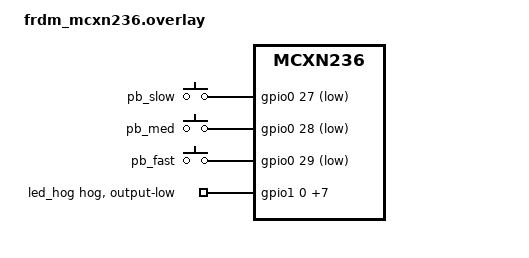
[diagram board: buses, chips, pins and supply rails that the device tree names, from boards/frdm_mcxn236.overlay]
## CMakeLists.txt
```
cmake_minimum_required(VERSION 3.20.0)
find_package(Zephyr REQUIRED HINTS $ENV{ZEPHYR_BASE})
project(ex8_gpio_keys_hogs)

# Common sources: dispatcher plus the shared LED rotation helper.
target_sources(app PRIVATE src/main.c src/led_rotate.c)

# Show the selected exercise mode during the build.
if(CONFIG_EX8_MODE_BLINK)
    message(STATUS "Exercise 8: BLINK mode (Exercise 1)")
elseif(CONFIG_EX8_MODE_ROTATE_OFF)
    message(STATUS "Exercise 8: ROTATE OFF mode (Exercise 2)")
elseif(CONFIG_EX8_MODE_LED_ON_PRESS)
    message(STATUS "Exercise 8: LED ON PRESS mode (Exercise 3)")
elseif(CONFIG_EX8_MODE_THREE_SPEED)
    message(STATUS "Exercise 8: THREE SPEED mode (Exercise 4)")
elseif(CONFIG_EX8_MODE_TOGGLE)
    message(STATUS "Exercise 8: TOGGLE mode (Exercise 5)")
elseif(CONFIG_EX8_MODE_SPEED_CYCLE)
    message(STATUS "Exercise 8: SPEED CYCLE mode (Exercise 6)")
elseif(CONFIG_EX8_MODE_TWO_BTN)
    message(STATUS "Exercise 8: TWO BUTTON mode (Exercise 7)")
endif()

# Each mode is compiled only when its EX8_MODE_* symbol is selected. The mode
# files are added to the "app" library when the corresponding Kconfig value is
# "y" (see cmake/modules/extensions.cmake, zephyr_library_sources_ifdef).
zephyr_library_sources_ifdef(CONFIG_EX8_MODE_BLINK src/mode_blink.c)
zephyr_library_sources_ifdef(CONFIG_EX8_MODE_ROTATE_OFF src/mode_rotate_off.c)
zephyr_library_sources_ifdef(CONFIG_EX8_MODE_LED_ON_PRESS src/mode_led_on_press.c)
zephyr_library_sources_ifdef(CONFIG_EX8_MODE_THREE_SPEED src/mode_three_speed.c)
zephyr_library_sources_ifdef(CONFIG_EX8_MODE_TOGGLE src/mode_toggle.c)
zephyr_library_sources_ifdef(CONFIG_EX8_MODE_SPEED_CYCLE src/mode_speed_cycle.c)
zephyr_library_sources_ifdef(CONFIG_EX8_MODE_TWO_BTN src/mode_two_button.c)
```

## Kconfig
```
# Exercise 8: gpio-keys, GPIO hogs, and DT aliases

# SPDX-License-Identifier: Apache-2.0

mainmenu "Exercise 8: gpio-keys, GPIO hogs, and DT aliases"

choice EX8_MODE
	prompt "Exercise 8 LED/button mode"
	default EX8_MODE_BLINK
	help
	  Select which LED/button behavior this image runs. Each choice maps
	  to one of the previous exercises (ex1..ex7), built from a shared
	  Kconfig-driven source set.

config EX8_MODE_BLINK
	bool "Blink (exercise 1)"

config EX8_MODE_ROTATE_OFF
	bool "Rotate a turned-off LED (exercise 2)"

config EX8_MODE_LED_ON_PRESS
	bool "LED on while button is pressed (exercise 3)"

config EX8_MODE_THREE_SPEED
	bool "Rotate an LED with three speeds (exercise 4)"

config EX8_MODE_TOGGLE
	bool "Toggle an LED on/off with a single button press (exercise 5)"

config EX8_MODE_SPEED_CYCLE
	bool "Single button cycles through four rotation speeds (exercise 6)"

config EX8_MODE_TWO_BTN
	bool "Two buttons rotate an LED left/right (exercise 7)"

endchoice

source "Kconfig.zephyr"
```

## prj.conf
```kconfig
# Exercise 8: gpio-keys, GPIO hogs, and DT aliases

# Input subsystem and the gpio-keys driver that turns the board/protoboard
# buttons into INPUT_EV_KEY events (subsys/input/Kconfig,
# drivers/input/Kconfig.gpio_keys).
CONFIG_INPUT=y
CONFIG_INPUT_GPIO_KEYS=y

# Enable the DT-driven GPIO hogs used to initialize the LED outputs
# (drivers/gpio/Kconfig, CONFIG_GPIO_HOGS; gpio_hogs.c).
CONFIG_GPIO_HOGS=y
```

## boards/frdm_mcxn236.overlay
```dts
/*
 * Overlay for exercise 8: gpio-keys, GPIO hogs, and DT aliases.
 *
 * Replaces the manual GPIO init/poll of exercises 1..7 with devicetree
 * mechanisms:
 *
 * - A single gpio-hog on &gpio1 (the LED port) configures pins 0-7 as
 *   active-high output-low at boot, replacing led_init() in drivers/gpio
 *   (gpio_hogs.c, GPIO_HOGS_INIT_PRIORITY 41).
 * - A "gpio-keys" node (drivers/input/input_gpio_keys.c) turns the three
 *   protoboard buttons P0_27, P0_28, P0_29 into input events with codes
 *   INPUT_KEY_1/2/3.
 * - DT aliases ledbar / sw2 / sw3 / sw4 let the mode sources address LED
 *   port and buttons through the devicetree API instead of raw pins.
 *
 * Board: NXP FRDM-MCXN236
 */

#include <zephyr/dt-bindings/gpio/gpio.h>
#include <zephyr/dt-bindings/input/input-event-codes.h>

/ {
	aliases {
		ledbar = &gpio1;
		sw2 = &pb_slow;
		sw3 = &pb_med;
		sw4 = &pb_fast;
	};

	ex8_keys {
		compatible = "gpio-keys";
		debounce-interval-ms = <50>;

		pb_slow: pb-slow {
			gpios = <&gpio0 27 (GPIO_PULL_UP | GPIO_ACTIVE_LOW)>;
			zephyr,code = <INPUT_KEY_1>;
		};

		pb_med: pb-med {
			gpios = <&gpio0 28 (GPIO_PULL_UP | GPIO_ACTIVE_LOW)>;
			zephyr,code = <INPUT_KEY_2>;
		};

		pb_fast: pb-fast {
			gpios = <&gpio0 29 (GPIO_PULL_UP | GPIO_ACTIVE_LOW)>;
			zephyr,code = <INPUT_KEY_3>;
		};
	};
};

&gpio1 {
	led_hog: led-hog {
		gpio-hog;
		gpios = <0 GPIO_ACTIVE_HIGH>, <1 GPIO_ACTIVE_HIGH>,
			<2 GPIO_ACTIVE_HIGH>, <3 GPIO_ACTIVE_HIGH>,
			<4 GPIO_ACTIVE_HIGH>, <5 GPIO_ACTIVE_HIGH>,
			<6 GPIO_ACTIVE_HIGH>, <7 GPIO_ACTIVE_HIGH>;
		output-low;
	};
};
```

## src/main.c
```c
/**
 * @file main.c
 * @brief Exercise 8 - gpio-keys, GPIO hogs, and DT aliases dispatcher.
 *
 * Rebuilds exercises 1..7 on top of Zephyr's input subsystem (gpio-keys),
 * boot-time GPIO hogs, and devicetree aliases instead of manual GPIO
 * configuration and polling.
 *
 * Reference: zephyr_projects/README.md, "Low-level drivers - GPIO"
 * checklist - "Rewrite the button/LED exercises using gpio-keys, GPIO hogs,
 * and DT aliases" (line 70).
 *
 * The build variant is selected with the EX8_MODE Kconfig choice; only the
 * matching mode_*.c file is compiled (see CMakeLists.txt,
 * zephyr_library_sources_ifdef).
 *
 * Board: NXP FRDM-MCXN236
 */

#include <zephyr/device.h>
#include <zephyr/kernel.h>

#define LED_PORT_NODE DT_ALIAS(ledbar)

/* Each mode source exports mode_<name>_run(const struct device *led_port) */
#if defined(CONFIG_EX8_MODE_BLINK)
void mode_blink_run(const struct device *led_port);
#elif defined(CONFIG_EX8_MODE_ROTATE_OFF)
void mode_rotate_off_run(const struct device *led_port);
#elif defined(CONFIG_EX8_MODE_LED_ON_PRESS)
void mode_led_on_press_run(const struct device *led_port);
#elif defined(CONFIG_EX8_MODE_THREE_SPEED)
void mode_three_speed_run(const struct device *led_port);
#elif defined(CONFIG_EX8_MODE_TOGGLE)
void mode_toggle_run(const struct device *led_port);
#elif defined(CONFIG_EX8_MODE_SPEED_CYCLE)
void mode_speed_cycle_run(const struct device *led_port);
#elif defined(CONFIG_EX8_MODE_TWO_BTN)
void mode_two_button_run(const struct device *led_port);
#else
#error "No EX8_MODE selected"
#endif

int main(void)
{
	const struct device *led_port = DEVICE_DT_GET(LED_PORT_NODE);

	if (!device_is_ready(led_port)) {
		printk("Error: LED port device is not ready\n");
		return -1;
	}

#if defined(CONFIG_EX8_MODE_BLINK)
	mode_blink_run(led_port);
#elif defined(CONFIG_EX8_MODE_ROTATE_OFF)
	mode_rotate_off_run(led_port);
#elif defined(CONFIG_EX8_MODE_LED_ON_PRESS)
	mode_led_on_press_run(led_port);
#elif defined(CONFIG_EX8_MODE_THREE_SPEED)
	mode_three_speed_run(led_port);
#elif defined(CONFIG_EX8_MODE_TOGGLE)
	mode_toggle_run(led_port);
#elif defined(CONFIG_EX8_MODE_SPEED_CYCLE)
	mode_speed_cycle_run(led_port);
#elif defined(CONFIG_EX8_MODE_TWO_BTN)
	mode_two_button_run(led_port);
#endif

	return 0;
}
```

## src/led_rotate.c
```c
/**
 * @file led_rotate.c
 * @brief Implementation of the shared non-blocking LED rotation helper.
 *
 * See led_rotate.h for the public interface. Port write uses the masked raw
 * API (gpio_port_set_masked_raw) exactly like exercises 1, 2, 6 and 7 so the
 * physical pin level on the FRDM-MCXN236 protoboard LEDs matches the masks.
 */

#include <zephyr/drivers/gpio.h>

#include "led_rotate.h"

void led_rotate_step(const struct device *led_port,
		     int delta_pos, uint32_t rotate_ticks, bool lit)
{
	static int rotate_pos = 0;
	static uint32_t rotate_counter = 0;

	rotate_counter++;

	if (rotate_counter < rotate_ticks) {
		return;
	}

	rotate_counter = 0;

	if (lit) {
		gpio_port_set_masked_raw(led_port, ALL_LEDS_MASK,
					 BIT(rotate_pos));
	} else {
		gpio_port_set_masked_raw(led_port, ALL_LEDS_MASK,
					 ALL_LEDS_MASK & ~BIT(rotate_pos));
	}

	rotate_pos = (rotate_pos + delta_pos + NUM_LED) % NUM_LED;
}
```

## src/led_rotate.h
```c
/**
 * @file led_rotate.h
 * @brief Shared non-blocking LED rotation used by several exercise 8 modes.
 *
 * Reference: zephyr_projects/README.md, "Low-level drivers - GPIO"
 * checklist; the tick-based rotation logic comes from exercises 6 and 7
 * (README.md "Single button cycles through four rotation speeds" and
 * "Two buttons rotate an LED left/right").
 */

#ifndef MODULAR_PROJECTS_EX8_LED_ROTATE_H_
#define MODULAR_PROJECTS_EX8_LED_ROTATE_H_

#include <stdbool.h>
#include <stdint.h>

#include <zephyr/device.h>
#include <zephyr/sys/util.h>

#define NUM_LED 8
#define ALL_LEDS_MASK ((1u << NUM_LED) - 1)

#define POLL_DELAY_MS 10

/**
 * @brief Advance the rotating LED by one step (fixed-period poll loop).
 *
 * Non-blocking: called once per poll cycle, it counts a tick and only
 * moves the LED once rotate_ticks ticks have elapsed. The tick counter is
 * deliberately NOT reset when the caller changes rotate_ticks, so a speed
 * change is perceived as a natural acceleration instead of a glitch.
 *
 * @param led_port    GPIO device driving the LEDs.
 * @param delta_pos   Step size per LED movement: +1 for one direction,
 *                    +1/-1 for left/right rotation.
 * @param rotate_ticks Number of poll cycles (POLL_DELAY_MS each) between
 *                    LED movements.
 * @param lit         true to rotate a single lit LED (others off);
 *                    false to rotate a single turned-off LED (others on).
 */
void led_rotate_step(const struct device *led_port,
		     int delta_pos, uint32_t rotate_ticks, bool lit);

#endif /* MODULAR_PROJECTS_EX8_LED_ROTATE_H_ */
```

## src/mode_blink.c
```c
/**
 * @file mode_blink.c
 * @brief Exercise 8 mode: Blink (exercise 1).
 *
 * Reference: zephyr_projects/README.md, "Low-level drivers - GPIO"
 * checklist - "Blink 8 LEDs connected to a single port, alternating between
 * two groups: {p0, p2, p4, p6} and {p1, p3, p5, p7}" (line 63).
 *
 * The LED port is reached through the DT alias "ledbar" (overlay maps it to
 * gpio1). Timing uses the fixed-period poll loop; the two groups alternate
 * every BLINK_TICKS (BLINK_DELAY_MS / POLL_DELAY_MS) ticks.
 *
 * Board: NXP FRDM-MCXN236
 */

#include <stdbool.h>
#include <stdint.h>

#include <zephyr/device.h>
#include <zephyr/drivers/gpio.h>
#include <zephyr/kernel.h>

#include "led_rotate.h"

#define GROUP_A_MASK 0x55 /* pins p0,p2,p4,p6 of the port */
#define GROUP_B_MASK 0xAA /* pins p1,p3,p5,p7 of the port */
#define ALL_PINS_MASK 0xFF

#define BLINK_DELAY_MS 500
#define BLINK_TICKS (BLINK_DELAY_MS / POLL_DELAY_MS)

void mode_blink_run(const struct device *led_port)
{
	bool show_group_b = false;
	uint32_t tick = 0;

	printk("Starting alternating blink on gpio1 pins 0-7 via DT alias "
	       "(gpio-keys/GPIO hogs build)\n");
	printk("Group A mask\n");
	gpio_port_set_masked_raw(led_port, ALL_PINS_MASK, GROUP_A_MASK);

	while (1) {
		tick++;

		if (tick >= BLINK_TICKS) {
			tick = 0;
			show_group_b = !show_group_b;

			gpio_port_set_masked_raw(
				led_port, ALL_PINS_MASK,
				show_group_b ? GROUP_B_MASK : GROUP_A_MASK);

			printk(show_group_b ? "Group B mask\n"
					    : "Group A mask\n");
		}

		k_msleep(POLL_DELAY_MS);
	}
}
```

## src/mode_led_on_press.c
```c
/**
 * @file mode_led_on_press.c
 * @brief Exercise 8 mode: LED on while a button is pressed (exercise 3).
 *
 * Reference: zephyr_projects/README.md, "Low-level drivers - GPIO"
 * checklist - "LED on while button is pressed" (line 65).
 *
 * The on-board SW2 (DT alias "sw0", gpio-keys code from the board node,
 * INPUT_KEY_WAKEUP) mirrors the first LED (gpio1 pin 0):
 *
 * - The gpio-keys input callback only updates the LED state (pressed or
 *   not) — decision (b).
 * - The fixed 10ms poll loop performs the GPIO write.
 *
 * Debounce is provided by the gpio-keys driver, so no manual debounce code
 * is needed.
 *
 * Board: NXP FRDM-MCXN236
 */

#include <stdbool.h>
#include <stdint.h>

#include <zephyr/device.h>
#include <zephyr/drivers/gpio.h>
#include <zephyr/input/input.h>
#include <zephyr/kernel.h>
#include <zephyr/sys/util.h>

#include "led_rotate.h"

#define LED_PIN 0

#define SW0_CODE DT_PROP(DT_ALIAS(sw0), zephyr_code)

static bool g_pressed;

static void led_on_press_input_cb(struct input_event *evt, void *user_data)
{
	ARG_UNUSED(user_data);

	if (evt->type == INPUT_EV_KEY && evt->code == SW0_CODE) {
		g_pressed = (evt->value != 0);
	}
}

INPUT_CALLBACK_DEFINE(NULL, led_on_press_input_cb, NULL);

void mode_led_on_press_run(const struct device *led_port)
{
	printk("LED (gpio1 pin %d) will mirror SW2 via gpio-keys\n", LED_PIN);

	while (1) {
		gpio_pin_set(led_port, LED_PIN, g_pressed);

		k_msleep(POLL_DELAY_MS);
	}
}
```

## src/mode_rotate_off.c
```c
/**
 * @file mode_rotate_off.c
 * @brief Exercise 8 mode: Rotate a turned-off LED (exercise 2).
 *
 * Reference: zephyr_projects/README.md, "Low-level drivers - GPIO"
 * checklist - "Rotate a turned-off LED across a port's pins at a speed
 * perceptible to the human eye" (line 64).
 *
 * All LEDs stay ON except one, which walks across the pins. The shared
 * led_rotate_step() helper is used with lit = false and a fixed 150ms step
 * (ROTATE_TICKS ~ POLL_DELAY_MS) implemented on the 10ms poll loop.
 *
 * Board: NXP FRDM-MCXN236
 */

#include <stdbool.h>
#include <stdint.h>

#include <zephyr/device.h>
#include <zephyr/kernel.h>

#include "led_rotate.h"

#define ROTATE_DELAY_MS 150
#define ROTATE_TICKS (ROTATE_DELAY_MS / POLL_DELAY_MS)

void mode_rotate_off_run(const struct device *led_port)
{
	printk("Starting rotating off-LED on gpio1 pins 0-%d via DT alias\n",
	       NUM_LED - 1);

	while (1) {
		led_rotate_step(led_port, 1, ROTATE_TICKS, false);

		k_msleep(POLL_DELAY_MS);
	}
}
```

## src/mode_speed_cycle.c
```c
/**
 * @file mode_speed_cycle.c
 * @brief Exercise 8 mode: single button cycles through four rotation speeds
 *        (exercise 6).
 *
 * Reference: zephyr_projects/README.md, "Low-level drivers - GPIO"
 * checklist - "Single button cycles through four rotation speeds, wrapping
 * around" (line 68).
 *
 * The protoboard button at P0_28 (DT alias "sw3", gpio-keys code
 * INPUT_KEY_2) advances a lit-LED rotation through four speeds, wrapping
 * from the fastest back to the slowest:
 *
 *   ROTATE_TICKS_SLOWEST   60 ticks (600 ms)
 *   ROTATE_TICKS_SLOW      30 ticks (300 ms)
 *   ROTATE_TICKS_FAST      15 ticks (150 ms)
 *   ROTATE_TICKS_FASTEST    8 ticks ( 80 ms)
 *
 * Debounce is provided by the gpio-keys driver; the input callback only
 * advances the speed index, and the poll loop drives led_rotate_step().
 *
 * Board: NXP FRDM-MCXN236
 */

#include <stdbool.h>
#include <stdint.h>

#include <zephyr/device.h>
#include <zephyr/input/input.h>
#include <zephyr/kernel.h>
#include <zephyr/sys/util.h>

#include "led_rotate.h"

#define SW3_CODE DT_PROP(DT_ALIAS(sw3), zephyr_code)

#define NUM_SPEEDS 4
#define ROTATE_TICKS_SLOWEST 60 /* 60 * POLL_DELAY_MS = 600 ms */
#define ROTATE_TICKS_SLOW    30 /* 30 * POLL_DELAY_MS = 300 ms */
#define ROTATE_TICKS_FAST    15 /* 15 * POLL_DELAY_MS = 150 ms */
#define ROTATE_TICKS_FASTEST  8 /*  8 * POLL_DELAY_MS =  80 ms */

static const uint32_t g_speed_ticks[NUM_SPEEDS] = {
	ROTATE_TICKS_SLOWEST,
	ROTATE_TICKS_SLOW,
	ROTATE_TICKS_FAST,
	ROTATE_TICKS_FASTEST,
};

static uint8_t g_speed_index;

static void speed_cycle_input_cb(struct input_event *evt, void *user_data)
{
	ARG_UNUSED(user_data);

	if (evt->type == INPUT_EV_KEY && evt->code == SW3_CODE &&
	    evt->value == 1) {
		g_speed_index = (g_speed_index + 1) % NUM_SPEEDS;
	}
}

INPUT_CALLBACK_DEFINE(NULL, speed_cycle_input_cb, NULL);

void mode_speed_cycle_run(const struct device *led_port)
{
	printk("Rotating lit-LED on gpio1; sw3 (P0_28) cycles 4 speeds\n");
	printk("Speed: %u ticks\n", g_speed_ticks[g_speed_index]);

	while (1) {
		led_rotate_step(led_port, 1, g_speed_ticks[g_speed_index],
				true);

		k_msleep(POLL_DELAY_MS);
	}
}
```

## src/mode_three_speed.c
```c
/**
 * @file mode_three_speed.c
 * @brief Exercise 8 mode: Rotate an LED with three speeds (exercise 4).
 *
 * Reference: zephyr_projects/README.md, "Low-level drivers - GPIO"
 * checklist - "Rotate an LED with three speeds" (line 66).
 *
 * The three protoboard buttons (DT aliases sw2/sw3/sw4 -> gpio-keys codes
 * INPUT_KEY_1/2/3, pins P0_27/P0_28/P0_29) select the rotation speed of a
 * turned-off LED that walks across the 8 LED pins:
 *
 *   sw2 (P0_27) -> slow  (ROTATE_TICKS_SLOW  = 60 ticks = 600ms)
 *   sw3 (P0_28) -> med   (ROTATE_TICKS_MED   = 30 ticks = 300ms)
 *   sw4 (P0_29) -> fast  (ROTATE_TICKS_FAST  = 10 ticks = 100ms)
 *
 * Selection is latched: it stays at the last pressed button until another
 * one is pressed (precedence slow > med > fast, as in the original
 * exercise). The input callback only records which buttons are active; the
 * poll loop applies the precedence on each iteration.
 *
 * Board: NXP FRDM-MCXN236
 */

#include <stdbool.h>
#include <stdint.h>

#include <zephyr/device.h>
#include <zephyr/input/input.h>
#include <zephyr/kernel.h>
#include <zephyr/sys/util.h>

#include "led_rotate.h"

#define SW2_CODE DT_PROP(DT_ALIAS(sw2), zephyr_code) /* P0_27 */
#define SW3_CODE DT_PROP(DT_ALIAS(sw3), zephyr_code) /* P0_28 */
#define SW4_CODE DT_PROP(DT_ALIAS(sw4), zephyr_code) /* P0_29 */

#define ROTATE_TICKS_SLOW 60 /* 60 * POLL_DELAY_MS = 600 ms */
#define ROTATE_TICKS_MED  30 /* 30 * POLL_DELAY_MS = 300 ms */
#define ROTATE_TICKS_FAST 10 /* 10 * POLL_DELAY_MS = 100 ms */

static bool g_slow_pressed;
static bool g_med_pressed;
static bool g_fast_pressed;

static void three_speed_input_cb(struct input_event *evt, void *user_data)
{
	ARG_UNUSED(user_data);

	if (evt->type != INPUT_EV_KEY) {
		return;
	}

	if (evt->code == SW2_CODE) {
		g_slow_pressed = (evt->value != 0);
	} else if (evt->code == SW3_CODE) {
		g_med_pressed = (evt->value != 0);
	} else if (evt->code == SW4_CODE) {
		g_fast_pressed = (evt->value != 0);
	}
}

INPUT_CALLBACK_DEFINE(NULL, three_speed_input_cb, NULL);

void mode_three_speed_run(const struct device *led_port)
{
	uint32_t rotate_ticks = ROTATE_TICKS_MED; /* default speed at boot */

	printk("Rotating off-LED on gpio1, speed selected by sw2/sw3/sw4 "
	       "via gpio-keys\n");

	while (1) {
		if (g_slow_pressed) {
			rotate_ticks = ROTATE_TICKS_SLOW;
		} else if (g_med_pressed) {
			rotate_ticks = ROTATE_TICKS_MED;
		} else if (g_fast_pressed) {
			rotate_ticks = ROTATE_TICKS_FAST;
		}

		led_rotate_step(led_port, 1, rotate_ticks, false);

		k_msleep(POLL_DELAY_MS);
	}
}
```

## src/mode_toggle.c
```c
/**
 * @file mode_toggle.c
 * @brief Exercise 8 mode: Toggle an LED with a single button (exercise 5).
 *
 * Reference: zephyr_projects/README.md, "Low-level drivers - GPIO"
 * checklist - "Toggle an LED on/off with a single button press" (line 67).
 *
 * The protoboard button at P0_28 (DT alias "sw3", gpio-keys code
 * INPUT_KEY_2) toggles the first LED (gpio1 pin 0) on every press:
 *
 * - The gpio-keys input callback detects a press event and inverts the
 *   LED state.
 * - The fixed 10ms poll loop performs the GPIO write.
 *
 * Debounce is provided by the gpio-keys driver (debounce-interval-ms in
 * the overlay), so no manual debounce code is needed.
 *
 * Board: NXP FRDM-MCXN236
 */

#include <stdbool.h>
#include <stdint.h>

#include <zephyr/device.h>
#include <zephyr/drivers/gpio.h>
#include <zephyr/input/input.h>
#include <zephyr/kernel.h>
#include <zephyr/sys/util.h>

#include "led_rotate.h"

#define LED_PIN 0

#define SW3_CODE DT_PROP(DT_ALIAS(sw3), zephyr_code)

static bool g_led_state;

static void toggle_input_cb(struct input_event *evt, void *user_data)
{
	ARG_UNUSED(user_data);

	if (evt->type == INPUT_EV_KEY && evt->code == SW3_CODE &&
	    evt->value == 1) {
		g_led_state = !g_led_state;
	}
}

INPUT_CALLBACK_DEFINE(NULL, toggle_input_cb, NULL);

void mode_toggle_run(const struct device *led_port)
{
	printk("LED (gpio1 pin %d) toggles on each sw3 (P0_28) press\n",
	       LED_PIN);

	while (1) {
		gpio_pin_set(led_port, LED_PIN, g_led_state);

		k_msleep(POLL_DELAY_MS);
	}
}
```

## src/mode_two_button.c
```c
/**
 * @file mode_two_button.c
 * @brief Exercise 8 mode: two buttons rotate an LED left/right (exercise 7).
 *
 * Reference: zephyr_projects/README.md, "Low-level drivers - GPIO"
 * checklist - "Two buttons rotate an LED left/right" (line 69).
 *
 * SW2 (DT alias "sw0", INPUT_KEY_WAKEUP) rotates the active LED left; SW3
 * (DT alias "sw1", INPUT_KEY_0) rotates it right. Rotation speed is fixed
 * at ROTATE_TICKS_MED (30 * POLL_DELAY_MS = 300 ms).
 *
 * Simultaneous-press policy — decision (a): both buttons are sampled in
 * the same poll cycle; if both are pressed, the direction stays unchanged;
 * if only one is active, the rotation moves according to that one. No
 * temporal window is used.
 *
 * Debounce is provided by the gpio-keys driver.
 *
 * Board: NXP FRDM-MCXN236
 */

#include <stdbool.h>
#include <stdint.h>

#include <zephyr/device.h>
#include <zephyr/input/input.h>
#include <zephyr/kernel.h>
#include <zephyr/sys/util.h>

#include "led_rotate.h"

#define SW0_CODE DT_PROP(DT_ALIAS(sw0), zephyr_code)
#define SW1_CODE DT_PROP(DT_ALIAS(sw1), zephyr_code)

#define ROTATE_TICKS_MED 30 /* 30 * POLL_DELAY_MS = 300 ms */

#define DIR_LEFT  -1
#define DIR_RIGHT  1

static bool g_left_pressed;
static bool g_right_pressed;

static void two_button_input_cb(struct input_event *evt, void *user_data)
{
	ARG_UNUSED(user_data);

	if (evt->type != INPUT_EV_KEY) {
		return;
	}

	if (evt->code == SW0_CODE) {
		g_left_pressed = (evt->value != 0);
	} else if (evt->code == SW1_CODE) {
		g_right_pressed = (evt->value != 0);
	}
}

INPUT_CALLBACK_DEFINE(NULL, two_button_input_cb, NULL);

void mode_two_button_run(const struct device *led_port)
{
	int direction = DIR_RIGHT;

	printk("Rotating lit-LED on gpio1; SW2 left, SW3 right "
	       "(via gpio-keys)\n");

	while (1) {
		/*
		 * Read both button states before deciding the new direction:
		 * when both are pressed the direction stays unchanged.
		 */
		if (g_left_pressed && g_right_pressed) {
			/* keep current direction */
		} else if (g_left_pressed) {
			direction = DIR_LEFT;
		} else if (g_right_pressed) {
			direction = DIR_RIGHT;
		}

		led_rotate_step(led_port, direction, ROTATE_TICKS_MED, true);

		k_msleep(POLL_DELAY_MS);
	}
}
```
